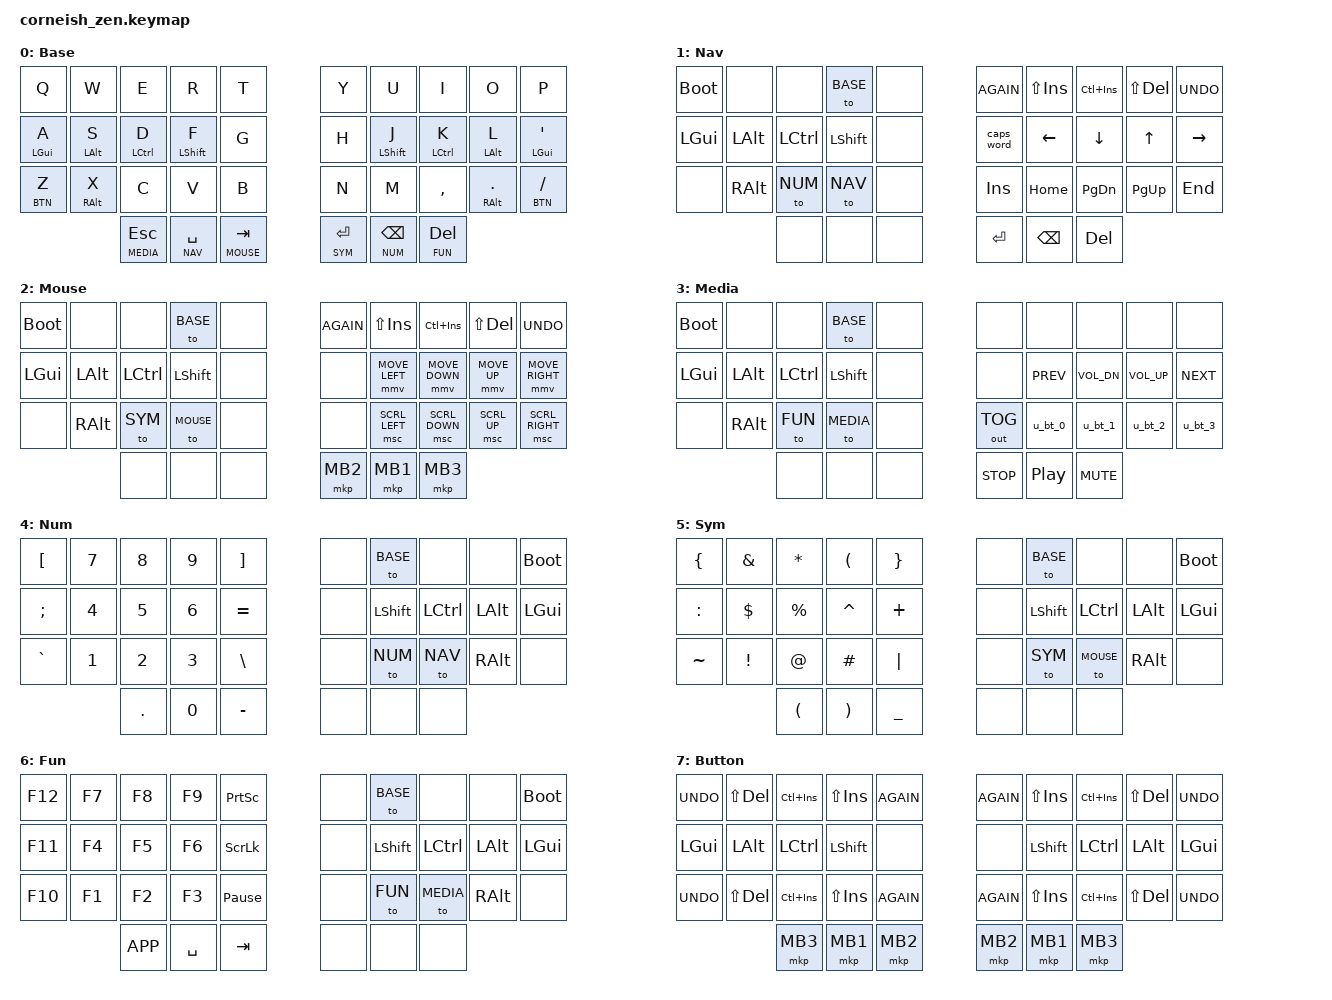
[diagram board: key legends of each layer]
/*
 * Miryoku (QWERTY) for the Corne-ish Zen v2, 5-COLUMN (36-key) — native
 * ZMK keymap, ZMK Studio enabled. Transcribed directly from the
 * manna-harbour/miryoku_zmk generated layers (default / right-hand-nav), so it
 * matches a stock Miryoku build, written as a plain keymap so Studio can edit it.
 *
 * 5-column Corne = 36 keys. Uses foostan_corne_5col_layout (drops the outer
 * pinky columns entirely, which Miryoku never used anyway).
 *
 *   0  1  2  3  4      5  6  7  8  9
 *  10 11 12 13 14     15 16 17 18 19
 *  20 21 22 23 24     25 26 27 28 29
 *            30 31 32 33 34 35
 *   (thumbs: 30 31 32 left | 33 34 35 right)
 *
 * Home-row mods are positional (hml/hmr) — tune timing/flavor below.
 */

// Optional pointing speed tuning (from Miryoku). Harmless if ignored.
#define ZMK_POINTING_DEFAULT_MOVE_VAL 1250
#define ZMK_POINTING_DEFAULT_SCRL_VAL 100

#include <behaviors.dtsi>
#include <dt-bindings/zmk/keys.h>
#include <dt-bindings/zmk/bt.h>
#include <dt-bindings/zmk/outputs.h>
#include <dt-bindings/zmk/pointing.h>
#include <dt-bindings/zmk/modifiers.h>

#define BASE  0
#define NAV   1
#define MOUSE 2
#define MEDIA 3
#define NUM   4
#define SYM   5
#define FUN   6
#define BTN   7

/*
 * Clipboard = Miryoku default (CUA / Windows-Linux style).
 * For macOS, swap to:  U_RDO LS(LG(Z)) | U_PST LG(V) | U_CPY LG(C) | U_CUT LG(X) | U_UND LG(Z)
 * For Windows keys:     U_RDO LC(Y)     | U_PST LC(V) | U_CPY LC(C) | U_CUT LC(X) | U_UND LC(Z)
 */
#define U_RDO &kp K_AGAIN
#define U_PST &kp LS(INS)
#define U_CPY &kp LC(INS)
#define U_CUT &kp LS(DEL)
#define U_UND &kp K_UNDO

/ {
    chosen {
        // Corne-ish Zen v2, 5-column. This is the physical layout ZMK Studio
        // renders and edits. (Use &foostan_corne_6col_layout for a 6-col board.)
        zmk,physical-layout = &foostan_corne_5col_layout;
    };
};

/ {
    behaviors {
        hml: home_row_mod_left {
            compatible = "zmk,behavior-hold-tap";
            #binding-cells = <2>;
            flavor = "balanced";
            tapping-term-ms = <200>;
            quick-tap-ms = <175>;
            require-prior-idle-ms = <150>;
            bindings = <&kp>, <&kp>;
            hold-trigger-key-positions = <5 6 7 8 9 15 16 17 18 19 25 26 27 28 29 30 31 32 33 34 35>;
            hold-trigger-on-release;
        };
        hmr: home_row_mod_right {
            compatible = "zmk,behavior-hold-tap";
            #binding-cells = <2>;
            flavor = "balanced";
            tapping-term-ms = <200>;
            quick-tap-ms = <175>;
            require-prior-idle-ms = <150>;
            bindings = <&kp>, <&kp>;
            hold-trigger-key-positions = <0 1 2 3 4 10 11 12 13 14 20 21 22 23 24 30 31 32 33 34 35>;
            hold-trigger-on-release;
        };

        // Bluetooth profile keys: tap = select, Shift+tap = clear (Miryoku behavior).
        u_bt_0: u_bt_sel_clear_0 {
            compatible = "zmk,behavior-mod-morph";
            #binding-cells = <0>;
            bindings = <&bt BT_SEL 0>, <&bt BT_CLR>;
            mods = <(MOD_LSFT|MOD_RSFT)>;
        };
        u_bt_1: u_bt_sel_clear_1 {
            compatible = "zmk,behavior-mod-morph";
            #binding-cells = <0>;
            bindings = <&bt BT_SEL 1>, <&bt BT_CLR>;
            mods = <(MOD_LSFT|MOD_RSFT)>;
        };
        u_bt_2: u_bt_sel_clear_2 {
            compatible = "zmk,behavior-mod-morph";
            #binding-cells = <0>;
            bindings = <&bt BT_SEL 2>, <&bt BT_CLR>;
            mods = <(MOD_LSFT|MOD_RSFT)>;
        };
        u_bt_3: u_bt_sel_clear_3 {
            compatible = "zmk,behavior-mod-morph";
            #binding-cells = <0>;
            bindings = <&bt BT_SEL 3>, <&bt BT_CLR>;
            mods = <(MOD_LSFT|MOD_RSFT)>;
        };
    };

    combos {
        compatible = "zmk,combos";
        // Both OUTER thumb keys together unlocks ZMK Studio for editing.
        combo_studio_unlock {
            timeout-ms = <50>;
            key-positions = <30 35>;
            bindings = <&studio_unlock>;
        };
    };

    keymap {
        compatible = "zmk,keymap";

        base_layer {
            display-name = "Base";
            bindings = <
&kp Q          &kp W          &kp E          &kp R          &kp T          &kp Y          &kp U          &kp I          &kp O          &kp P
&hml LGUI A    &hml LALT S    &hml LCTRL D   &hml LSHFT F   &kp G          &kp H          &hmr LSHFT J   &hmr LCTRL K   &hmr LALT L    &hmr LGUI SQT
&lt BTN Z      &hml RALT X    &kp C          &kp V          &kp B          &kp N          &kp M          &kp COMMA      &hmr RALT DOT  &lt BTN FSLH
                              &lt MEDIA ESC  &lt NAV SPACE  &lt MOUSE TAB  &lt SYM RET    &lt NUM BSPC   &lt FUN DEL
            >;
        };

        nav_layer {
            display-name = "Nav";
            bindings = <
&bootloader    &none          &none          &to BASE       &none          U_RDO          U_PST          U_CPY          U_CUT          U_UND
&kp LGUI       &kp LALT       &kp LCTRL      &kp LSHFT      &none          &caps_word     &kp LEFT       &kp DOWN       &kp UP         &kp RIGHT
&none          &kp RALT       &to NUM        &to NAV        &none          &kp INS        &kp HOME       &kp PG_DN      &kp PG_UP      &kp END
                              &none          &none          &none          &kp RET        &kp BSPC       &kp DEL
            >;
        };

        mouse_layer {
            display-name = "Mouse";
            bindings = <
&bootloader    &none          &none          &to BASE       &none          U_RDO          U_PST          U_CPY          U_CUT          U_UND
&kp LGUI       &kp LALT       &kp LCTRL      &kp LSHFT      &none          &none          &mmv MOVE_LEFT &mmv MOVE_DOWN &mmv MOVE_UP   &mmv MOVE_RIGHT
&none          &kp RALT       &to SYM        &to MOUSE      &none          &none          &msc SCRL_LEFT &msc SCRL_DOWN &msc SCRL_UP   &msc SCRL_RIGHT
                              &none          &none          &none          &mkp MB2       &mkp MB1       &mkp MB3
            >;
        };

        media_layer {
            display-name = "Media";
            bindings = <
&bootloader    &none          &none          &to BASE       &none          &none          &none          &none          &none          &none
&kp LGUI       &kp LALT       &kp LCTRL      &kp LSHFT      &none          &none          &kp C_PREV     &kp C_VOL_DN   &kp C_VOL_UP   &kp C_NEXT
&none          &kp RALT       &to FUN        &to MEDIA      &none          &out OUT_TOG   &u_bt_0        &u_bt_1        &u_bt_2        &u_bt_3
                              &none          &none          &none          &kp C_STOP     &kp C_PP       &kp C_MUTE
            >;
        };

        num_layer {
            display-name = "Num";
            bindings = <
&kp LBKT       &kp N7         &kp N8         &kp N9         &kp RBKT       &none          &to BASE       &none          &none          &bootloader
&kp SEMI       &kp N4         &kp N5         &kp N6         &kp EQUAL      &none          &kp LSHFT      &kp LCTRL      &kp LALT       &kp LGUI
&kp GRAVE      &kp N1         &kp N2         &kp N3         &kp BSLH       &none          &to NUM        &to NAV        &kp RALT       &none
                              &kp DOT        &kp N0         &kp MINUS      &none          &none          &none
            >;
        };

        sym_layer {
            display-name = "Sym";
            bindings = <
&kp LBRC       &kp AMPS       &kp ASTRK      &kp LPAR       &kp RBRC       &none          &to BASE       &none          &none          &bootloader
&kp COLON      &kp DLLR       &kp PRCNT      &kp CARET      &kp PLUS       &none          &kp LSHFT      &kp LCTRL      &kp LALT       &kp LGUI
&kp TILDE      &kp EXCL       &kp AT         &kp HASH       &kp PIPE       &none          &to SYM        &to MOUSE      &kp RALT       &none
                              &kp LPAR       &kp RPAR       &kp UNDER      &none          &none          &none
            >;
        };

        fun_layer {
            display-name = "Fun";
            bindings = <
&kp F12        &kp F7         &kp F8         &kp F9         &kp PSCRN      &none          &to BASE       &none          &none          &bootloader
&kp F11        &kp F4         &kp F5         &kp F6         &kp SLCK       &none          &kp LSHFT      &kp LCTRL      &kp LALT       &kp LGUI
&kp F10        &kp F1         &kp F2         &kp F3         &kp PAUSE_BREAK &none         &to FUN        &to MEDIA      &kp RALT       &none
                              &kp K_APP      &kp SPACE      &kp TAB        &none          &none          &none
            >;
        };

        button_layer {
            display-name = "Button";
            bindings = <
U_UND          U_CUT          U_CPY          U_PST          U_RDO          U_RDO          U_PST          U_CPY          U_CUT          U_UND
&kp LGUI       &kp LALT       &kp LCTRL      &kp LSHFT      &none          &none          &kp LSHFT      &kp LCTRL      &kp LALT       &kp LGUI
U_UND          U_CUT          U_CPY          U_PST          U_RDO          U_RDO          U_PST          U_CPY          U_CUT          U_UND
                              &mkp MB3       &mkp MB1       &mkp MB2       &mkp MB2       &mkp MB1       &mkp MB3
            >;
        };
    };
};
